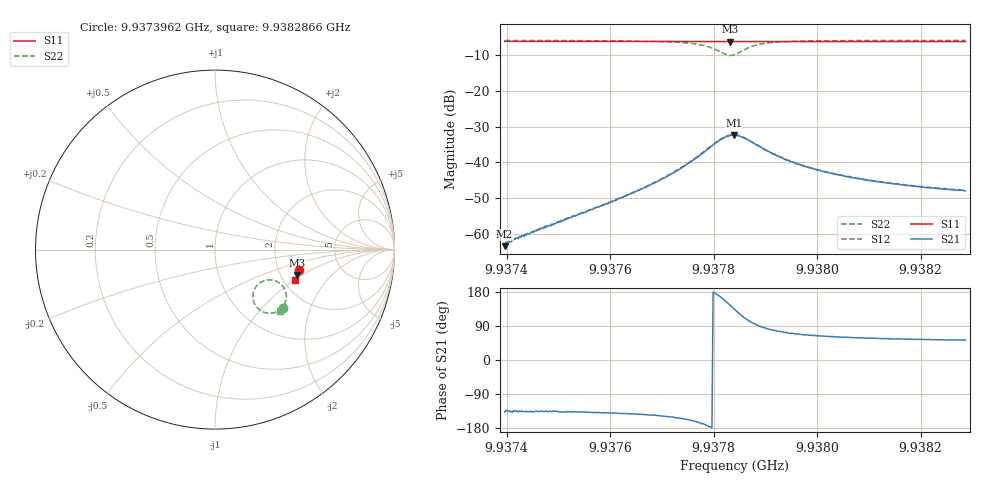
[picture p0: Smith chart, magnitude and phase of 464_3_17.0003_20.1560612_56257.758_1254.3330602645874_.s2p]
#  HZ  S  RI  R  50.00
! Rohde & Schwarz Vector Network Analyzer
! Rohde-Schwarz,ZNB20-2Port,1311601062101988,3.16
! Created: UTC 3/20/2024, 11:12:54 PM
! freq[Hz]  re:S11  im:S11  re:S21  im:S21  re:S12  im:S12  re:S22  im:S22
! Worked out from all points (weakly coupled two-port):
!   401 points, 9.9373962 GHz to 9.9382866 GHz, reference 50 ohm
!   highest |S21| = -32.39 dB at 9.9378392 GHz (marker M1); lowest = -63.3 dB at 9.9373962 GHz (marker M2)
!   lowest |S11| = -6.4 dB at 9.9378325 GHz (marker M3), VSWR 2.83, Z = 122 - j45.1 ohm
!   |S11| at or under -10 dB: nowhere
!   |S22| runs from -10.2 to -6.1 dB; largest |S21 - S12| = 0.00091
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9.93739618e9  0.4693 -0.1148  -0.000503 -0.000467  -0.00054 -0.00051  0.3779 -0.3231
9.93740286e9  0.4692 -0.1152  -0.000568 -0.000552  -0.00057 -0.000539  0.3774 -0.3236
9.93741844e9  0.4689 -0.1164  -0.000605 -0.00064  -0.000632 -0.000579  0.3762 -0.3249
9.93745851e9  0.4679 -0.119  -0.0008 -0.000783  -0.000841 -0.000811  0.3724 -0.328
9.93754533e9  0.4661 -0.1249  -0.00143 -0.00135  -0.00149 -0.00132  0.3625 -0.3355
9.93762992e9  0.464 -0.1304  -0.00266 -0.0021  -0.00273 -0.00211  0.3476 -0.3443
9.93769447e9  0.4623 -0.1349  -0.00467 -0.00307  -0.00482 -0.00307  0.3273 -0.3518
9.93774122e9  0.4609 -0.1381  -0.00787 -0.00366  -0.00809 -0.00363  0.2989 -0.3546
9.93778352e9  0.4591 -0.1409  -0.0141 -0.00234  -0.0144 -0.00216  0.2496 -0.3371
9.9377991e9  0.4583 -0.1415  -0.0176 0.000228  -0.0179 0.000601  0.2257 -0.3118
9.93781468e9  0.4575 -0.1421  -0.0202 0.00531  -0.0205 0.00604  0.2109 -0.267
9.93783249e9  0.4568 -0.1422  -0.0192 0.014  -0.0191 0.0148  0.2327 -0.2014
9.93783917e9  0.4569 -0.1422  -0.017 0.0169  -0.0168 0.0176  0.2536 -0.1831
9.9378414e9  0.457 -0.1422  -0.0161 0.0177  -0.0158 0.0185  0.2619 -0.1783
9.93785253e9  0.4572 -0.1427  -0.0111 0.0201  -0.0106 0.0207  0.3043 -0.1683
9.93786811e9  0.4576 -0.1434  -0.00476 0.0198  -0.00428 0.02  0.3523 -0.1816
9.93789482e9  0.4578 -0.1456  0.00102 0.0157  0.00138 0.0158  0.3892 -0.223
9.93794379e9  0.4569 -0.1493  0.00348 0.0102  0.00369 0.0101  0.397 -0.2719
9.93799054e9  0.4558 -0.1527  0.00351 0.00746  0.00368 0.0075  0.392 -0.2953
9.93806178e9  0.454 -0.1573  0.00318 0.0054  0.00332 0.00546  0.383 -0.3138
9.93813969e9  0.4518 -0.1626  0.00289 0.00426  0.00296 0.00431  0.3747 -0.3258
9.93828661e9  0.4479 -0.1718  0.00246 0.00321  0.00255 0.00321  0.3628 -0.3401
